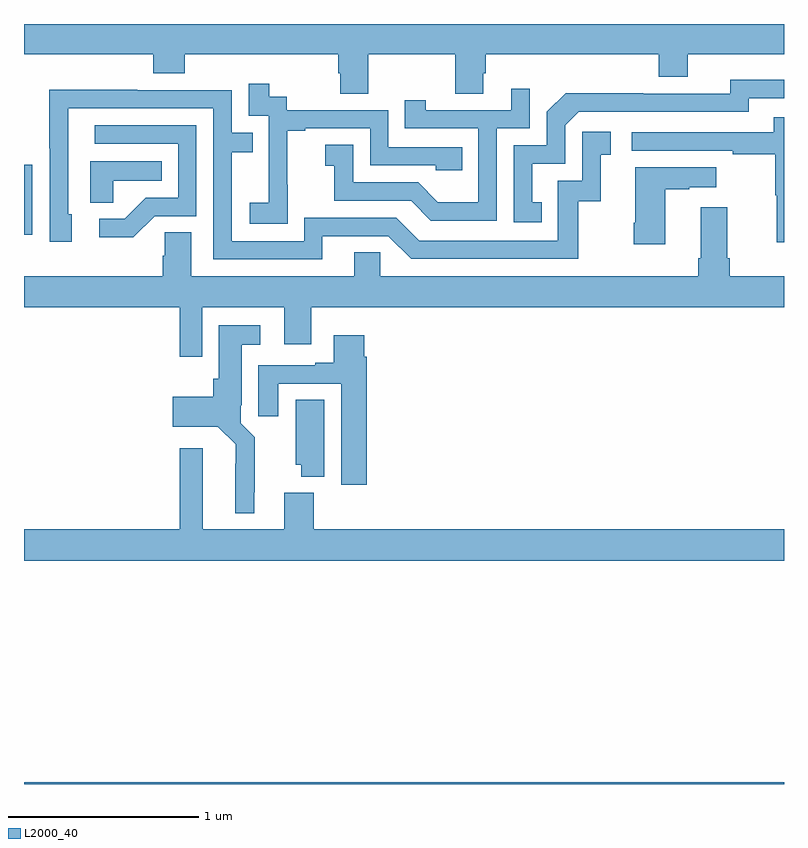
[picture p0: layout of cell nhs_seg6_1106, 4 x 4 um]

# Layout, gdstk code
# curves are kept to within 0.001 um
import gdstk
lib = gdstk.Library(unit=1e-6, precision=1e-09)
def R(c, l, rs):  # rectangles x0, y0, x1, y1
    for r in rs: c.add(gdstk.rectangle(r[:2], r[2:], *l))
def P(c, l, *ps):  # polygons
    for p in ps: c.add(gdstk.Polygon(p, *l))
L2000_40 = (2000, 40)

nhs_seg6_1106 = lib.new_cell('nhs_seg6_1106')
R(nhs_seg6_1106, L2000_40, [(179,939.5,183,939.508), (179,942.39,179.043,942.76)])
P(nhs_seg6_1106, L2000_40, [(180.813,943.34),(181.27,943.34),(181.27,943.132),(181.417,943.132),(181.417,943.242),(181.43,943.242),(181.43,943.34),(182.342,943.34),(182.342,943.223),(182.494,943.223),(182.494,943.34),(183,943.34),(183,943.5),(179,943.5),(179,943.34),(179.681,943.34),(179.681,943.241),(179.846,943.241),(179.846,943.34),(180.653,943.34),(180.653,943.242),(180.665,943.242),(180.665,943.132),(180.813,943.132)],
  [(181.724,942.561),(181.675,942.561),(181.675,942.765),(181.848,942.765),(181.848,942.966),(181.92,943.038),(182.814,943.038),(182.814,943.11),(183,943.11),(183,943.207),(182.718,943.207),(182.718,943.134),(182.258,943.134),(182.258,943.136),(181.85,943.136),(181.752,943.038),(181.752,942.861),(181.578,942.861),(181.578,942.456),(181.724,942.456)],
  [(180.387,942.655),(180.386,942.655),(180.386,942.939),(180.481,942.939),(180.481,942.951),(180.822,942.951),(180.822,942.756),(181.167,942.756),(181.167,942.729),(181.307,942.729),(181.307,942.852),(180.918,942.852),(180.918,943.047),(180.384,943.047),(180.384,943.116),(180.292,943.116),(180.292,943.186),(180.183,943.186),(180.183,943.017),(180.288,943.017),(180.288,942.788),(180.287,942.788),(180.287,942.559),(180.189,942.559),(180.189,942.449),(180.387,942.449)],
  [(181.488,942.951),(181.662,942.951),(181.662,943.159),(181.565,943.159),(181.565,943.047),(181.114,943.047),(181.114,943.099),(181.003,943.099),(181.003,942.951),(181.392,942.951),(181.392,942.562),(181.178,942.562),(181.074,942.666),(180.732,942.666),(180.732,942.865),(180.585,942.865),(180.585,942.755),(180.634,942.755),(180.634,942.57),(181.037,942.57),(181.142,942.465),(181.488,942.465)],
  [(180.571,942.384),(180.918,942.384),(181.038,942.264),(181.918,942.264),(181.918,942.567),(182.036,942.567),(182.036,942.813),(182.089,942.813),(182.089,942.934),(181.938,942.934),(181.938,942.675),(181.809,942.675),(181.809,942.36),(181.08,942.36),(180.96,942.48),(180.474,942.48),(180.474,942.357),(180.093,942.357),(180.093,942.826),(180.203,942.826),(180.203,942.927),(180.093,942.927),(180.093,943.152),(179.597,943.152),(179.597,943.154),(179.134,943.154),(179.134,942.847),(179.136,942.847),(179.136,942.354),(179.251,942.354),(179.251,942.498),(179.232,942.498),(179.232,943.056),(179.997,943.056),(179.997,942.261),(180.571,942.261)],
  [(183,943.009),(182.947,943.009),(182.947,942.93),(182.199,942.93),(182.199,942.834),(182.731,942.834),(182.731,942.814),(182.955,942.814),(182.955,942.6),(182.962,942.6),(182.962,942.351),(183,942.351)],
  [(179.688,942.489),(179.907,942.489),(179.907,942.966),(179.373,942.966),(179.373,942.87),(179.811,942.87),(179.811,942.585),(179.642,942.585),(179.531,942.474),(179.397,942.474),(179.397,942.377),(179.575,942.377)],
  [(179.469,942.674),(179.726,942.674),(179.726,942.778),(179.348,942.778),(179.348,942.559),(179.469,942.559)],
  [(182.374,942.631),(182.501,942.631),(182.501,942.641),(182.644,942.641),(182.644,942.745),(182.216,942.745),(182.216,942.454),(182.209,942.454),(182.209,942.342),(182.374,942.342)],
  [(179.937,942.008),(180.371,942.008),(180.371,941.814),(180.511,941.814),(180.511,942.008),(183,942.008),(183,942.172),(182.714,942.172),(182.714,942.268),(182.701,942.268),(182.701,942.535),(182.561,942.535),(182.561,942.268),(182.549,942.268),(182.549,942.172),(180.876,942.172),(180.876,942.299),(180.737,942.299),(180.737,942.172),(179.881,942.172),(179.881,942.404),(179.742,942.404),(179.742,942.281),(179.729,942.281),(179.729,942.172),(179,942.172),(179,942.008),(179.821,942.008),(179.821,941.748),(179.937,941.748)],
  [(180.211,941.035),(180.215,941.035),(180.215,941.326),(180.141,941.4),(180.141,941.494),(180.145,941.494),(180.145,941.813),(180.244,941.813),(180.244,941.914),(180.026,941.914),(180.026,941.634),(179.996,941.634),(179.996,941.539),(179.784,941.539),(179.784,941.381),(180.021,941.381),(180.114,941.288),(180.113,940.925),(180.211,940.925)],
  [(180.803,941.75),(180.79,941.75),(180.79,941.863),(180.629,941.863),(180.629,941.716),(180.533,941.716),(180.533,941.703),(180.233,941.703),(180.233,941.436),(180.337,941.436),(180.337,941.607),(180.671,941.607),(180.671,941.076),(180.803,941.076)],
  [(180.58,941.522),(180.431,941.522),(180.431,941.181),(180.458,941.181),(180.458,941.117),(180.58,941.117)],
  [(183,940.84),(180.524,940.84),(180.524,941.032),(180.371,941.032),(180.371,940.84),(179.941,940.84),(179.941,941.266),(179.819,941.266),(179.819,940.84),(179,940.84),(179,940.676),(183,940.676)])

lib.write_gds('nhs_seg6_1106.gds')
